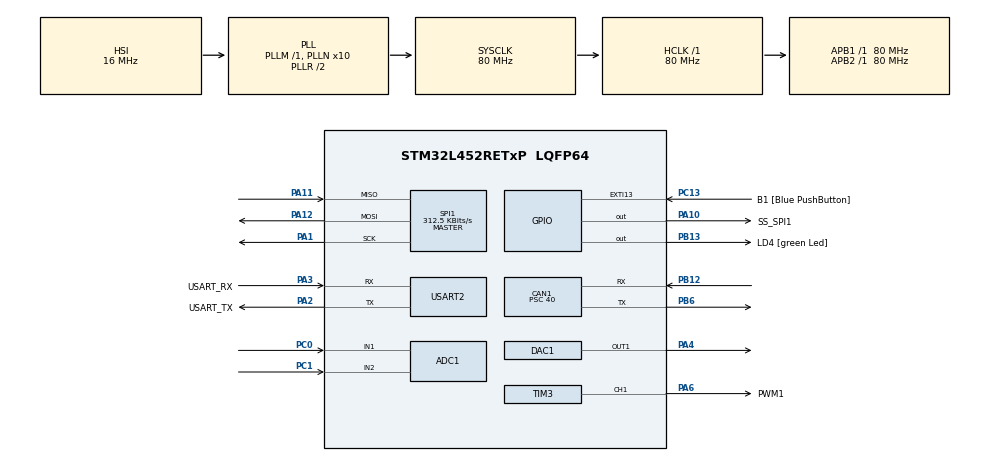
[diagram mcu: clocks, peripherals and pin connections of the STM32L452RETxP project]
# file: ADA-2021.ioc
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ADC1.Channel-0\#ChannelRegularConversion=ADC_CHANNEL_1
ADC1.Channel-1\#ChannelRegularConversion=ADC_CHANNEL_TEMPSENSOR
ADC1.Channel-2\#ChannelRegularConversion=ADC_CHANNEL_VBAT
ADC1.Channel-3\#ChannelRegularConversion=ADC_CHANNEL_VREFINT
ADC1.ContinuousConvMode=DISABLE
ADC1.DMAContinuousRequests=ENABLE
ADC1.EnableAnalogWatchDog2=true
ADC1.ExternalTrigConv=ADC_EXTERNALTRIG_T6_TRGO
ADC1.NbrOfConversion=4
ADC1.NbrOfConversionFlag=1
ADC1.OffsetNumber-0\#ChannelRegularConversion=ADC_OFFSET_NONE
ADC1.OffsetNumber-1\#ChannelRegularConversion=ADC_OFFSET_NONE
ADC1.OffsetNumber-2\#ChannelRegularConversion=ADC_OFFSET_NONE
ADC1.OffsetNumber-3\#ChannelRegularConversion=ADC_OFFSET_NONE
ADC1.Rank-0\#ChannelRegularConversion=1
ADC1.Rank-1\#ChannelRegularConversion=2
ADC1.Rank-2\#ChannelRegularConversion=3
ADC1.Rank-3\#ChannelRegularConversion=4
ADC1.SamplingTime-0\#ChannelRegularConversion=ADC_SAMPLETIME_47CYCLES_5
ADC1.SamplingTime-1\#ChannelRegularConversion=ADC_SAMPLETIME_47CYCLES_5
ADC1.SamplingTime-2\#ChannelRegularConversion=ADC_SAMPLETIME_47CYCLES_5
ADC1.SamplingTime-3\#ChannelRegularConversion=ADC_SAMPLETIME_47CYCLES_5
ADC1.SingleDiff-0\#ChannelRegularConversion=ADC_DIFFERENTIAL_ENDED
ADC1.master=1
CAN1.ABOM=ENABLE
CAN1.BS1=CAN_BS1_13TQ
CAN1.BS2=CAN_BS2_2TQ
CAN1.CalculateBaudRate=125000
CAN1.CalculateTimeBit=8000
CAN1.CalculateTimeQuantum=500.0
CAN1.Mode=CAN_MODE_NORMAL
CAN1.Prescaler=40
Dma.ADC1.0.Direction=DMA_PERIPH_TO_MEMORY
Dma.ADC1.0.Instance=DMA1_Channel1
Dma.ADC1.0.MemDataAlignment=DMA_MDATAALIGN_HALFWORD
Dma.ADC1.0.MemInc=DMA_MINC_ENABLE
Dma.ADC1.0.Mode=DMA_CIRCULAR
Dma.ADC1.0.PeriphDataAlignment=DMA_PDATAALIGN_HALFWORD
Dma.ADC1.0.PeriphInc=DMA_PINC_DISABLE
Dma.ADC1.0.Priority=DMA_PRIORITY_LOW
Dma.Request0=ADC1
Mcu.Family=STM32L4
Mcu.Name=STM32L452RETxP
Mcu.Package=LQFP64
NVIC.CAN1_RX0_IRQn=true\:0\:0\:false\:false\:true\:true\:true
NVIC.CAN1_SCE_IRQn=true\:0\:0\:false\:false\:true\:true\:true
NVIC.DMA1_Channel1_IRQn=true\:0\:0\:false\:false\:true\:false\:true
NVIC.PriorityGroup=NVIC_PRIORITYGROUP_4
PA1.Mode=Full_Duplex_Master
PA1.Signal=SPI1_SCK
PA10.GPIO_Label=SS_SPI1
PA10.GPIO_Speed=GPIO_SPEED_FREQ_MEDIUM
PA10.Signal=GPIO_Output
PA11.Mode=Full_Duplex_Master
PA11.Signal=SPI1_MISO
PA12.Mode=Full_Duplex_Master
PA12.Signal=SPI1_MOSI
PA13\ (JTMS/SWDIO).GPIO_Label=TMS
PA13\ (JTMS/SWDIO).Mode=Trace_Asynchronous_SW
PA13\ (JTMS/SWDIO).Signal=SYS_JTMS-SWDIO
PA14\ (JTCK/SWCLK).GPIO_Label=TCK
PA14\ (JTCK/SWCLK).Mode=Trace_Asynchronous_SW
PA14\ (JTCK/SWCLK).Signal=SYS_JTCK-SWCLK
PA2.GPIO_Label=USART_TX
PA2.GPIO_Mode=GPIO_MODE_AF_PP
PA2.GPIO_PuPd=GPIO_NOPULL
PA2.GPIO_Speed=GPIO_SPEED_FREQ_VERY_HIGH
PA2.Mode=Asynchronous
PA2.Signal=USART2_TX
PA3.GPIO_Label=USART_RX
PA3.GPIO_Mode=GPIO_MODE_AF_PP
PA3.GPIO_PuPd=GPIO_NOPULL
PA3.GPIO_Speed=GPIO_SPEED_FREQ_VERY_HIGH
PA3.Mode=Asynchronous
PA3.Signal=USART2_RX
PA4.Signal=COMP_DAC11_group
PA6.GPIO_Label=PWM1
PA6.GPIO_Speed=GPIO_SPEED_FREQ_HIGH
PA6.Signal=S_TIM3_CH1
PB12.Mode=CAN_Activate
PB12.Signal=CAN1_RX
PB13.GPIO_Label=LD4 [green Led]
PB13.Signal=GPIO_Output
PB3\ (JTDO/TRACESWO).GPIO_Label=SWO
PB3\ (JTDO/TRACESWO).Mode=Trace_Asynchronous_SW
PB3\ (JTDO/TRACESWO).Signal=SYS_JTDO-SWO
PB6.Mode=CAN_Activate
PB6.Signal=CAN1_TX
PC0.Signal=ADCx_IN1
PC1.Signal=ADCx_IN2
PC13.GPIO_Label=B1 [Blue PushButton]
PC13.GPIO_ModeDefaultEXTI=GPIO_MODE_IT_FALLING
PC13.GPIO_PuPd=GPIO_NOPULL
PC13.Signal=GPXTI13
PC14-OSC32_IN\ (PC14).Mode=LSE-External-Oscillator
PC14-OSC32_IN\ (PC14).Signal=RCC_OSC32_IN
PC15-OSC32_OUT\ (PC15).Mode=LSE-External-Oscillator
PC15-OSC32_OUT\ (PC15).Signal=RCC_OSC32_OUT
PH0-OSC_IN\ (PH0).GPIO_Label=MCO
PH0-OSC_IN\ (PH0).Mode=HSE-External-Clock-Source
PH0-OSC_IN\ (PH0).Signal=RCC_OSC_IN
PH1-OSC_OUT\ (PH1).Signal=RCC_OSC_OUT
ProjectManager.HeapSize=0x200
ProjectManager.StackSize=0x400
ProjectManager.TargetToolchain=STM32CubeIDE
RCC.ADCFreq_Value=64000000
RCC.AHBFreq_Value=80000000
RCC.APB1Freq_Value=80000000
RCC.APB1TimFreq_Value=80000000
RCC.APB2Freq_Value=80000000
RCC.APB2TimFreq_Value=80000000
RCC.CortexFreq_Value=80000000
RCC.HCLKFreq_Value=80000000
RCC.HSE_VALUE=8000000
RCC.HSI48_VALUE=48000000
RCC.HSI_VALUE=16000000
RCC.MSI_VALUE=4000000
RCC.PLLN=10
RCC.PLLSourceVirtual=RCC_PLLSOURCE_HSI
RCC.PREFETCH_ENABLE=1
RCC.SYSCLKFreq_VALUE=80000000
RCC.SYSCLKSource=RCC_SYSCLKSOURCE_PLLCLK
RCC.USBFreq_Value=64000000
RCC.VCOOutputFreq_Value=160000000
SH.ADCx_IN1.0=ADC1_IN1,IN1-Differential
SH.ADCx_IN2.0=ADC1_IN2,IN1-Differential
SH.COMP_DAC11_group.0=DAC1_OUT1,DAC_OUT1
SH.S_TIM3_CH1.0=TIM3_CH1,PWM Generation1 CH1
SPI1.BaudRatePrescaler=SPI_BAUDRATEPRESCALER_256
SPI1.CLKPhase=SPI_PHASE_1EDGE
SPI1.CalculateBaudRate=312.5 KBits/s
SPI1.DataSize=SPI_DATASIZE_8BIT
SPI1.Direction=SPI_DIRECTION_2LINES
SPI1.FirstBit=SPI_FIRSTBIT_MSB
SPI1.Mode=SPI_MODE_MASTER
SPI1.VirtualType=VM_MASTER
TIM3.Channel-PWM\ Generation1\ CH1=TIM_CHANNEL_1
TIM3.OCFastMode_PWM-PWM\ Generation1\ CH1=TIM_OCFAST_DISABLE
TIM6.AutoReloadPreload=TIM_AUTORELOAD_PRELOAD_DISABLE
TIM6.Period=99
TIM6.Prescaler=799
TIM6.TIM_MasterOutputTrigger=TIM_TRGO_UPDATE
USART2.VirtualMode-Asynchronous=VM_ASYNC
VP_ADC1_TempSens_Input.Mode=IN-TempSens
VP_ADC1_Vbat_Input.Mode=IN-Vbat
VP_ADC1_Vref_Input.Mode=IN-Vrefint
VP_TIM3_VS_ClockSourceINT.Mode=Internal
VP_TIM6_VS_ClockSourceINT.Mode=Enable_Timer
board=NUCLEO-L452RE-P

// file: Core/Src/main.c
/* USER CODE BEGIN Header */
/**
 * 31мая21
 * Biriuk
 * NUCLEO-L452RE-P
 *
 * ADA-2021
 *
 * STM32CubeIDE Начинаем работать некоторые нюансы использования среды разработки
 * https://www.youtube.com/watch?v=u8zvOeuOdW4&list=RDCMUC2vcuP7iWaX0MVG6hJ-cOkg&start_radio=1#t=0&pbj=1
 *
 * ADC HAL stm32
 * https://istarik.ru/blog/stm32/113.html
 *
 * STM32. АЦП на практике. DMA, прерывания. Переходим с Arduino на STM32
 * https://www.youtube.com/watch?v=4DPMhs-hNMU
 *
 * STM32Cube ADC+PWM Регулировка яркости светодиодов используя Ш�?М,АЦП и stm32f4 discovery
 * https://www.youtube.com/watch?v=RiZO9HGM-OY
 *
 * STM32Cube ADC настройка АЦП для регулярного канала STM32F407 discovery
 * https://www.youtube.com/watch?v=Pvw7AeUAYNQ&list=PL7oty_7pMddnTOH7Gpc7mokh96jt-ynVT&index=54
 *
 *STM32CubeIDE. Принципы работы и настройка интерфейса SWO
 *https://www.youtube.com/watch?v=nE-YrKpWjso&list=PL9lkEHy8EJU8a_bqiJXwGTo-uM_cPa98P
 *
 *Программирование МК STM32. УРОК 18. HAL. ADC. Regular Channel. DMA
 *https://www.youtube.com/watch?v=0fpdNWFnggQ&t=279s
 *https://narodstream.ru/stm-urok-18-hal-adc-regular-channel-dma/
 *
 * Урок 4: STM Studio
 * https://www.rvrobotics.ru/stm32_lesson_4
 *
 * STM32CubeIDE. Установка, настройка и отладка
 * https://www.youtube.com/watch?v=6xhzoDGi4qA
 *
 * Таймеры stm32 HAL - часть первая
 * https://istarik.ru/blog/stm32/118.html
 * D:\YandexDisk\Документы\Biriuk\Soft\STM32\STM32_Материал\STM32L452RE_Документация\STM32L452__Datascheet, стр.39
 *
 * D:\YandexDisk\Документы\Biriuk\Soft\STM32\STM32Cube_Примеры\STM32Cube_FW_L4_V1.15.0\Projects\NUCLEO-L412RB-P\
 * Examples\ADC\ADC_Sequencer\Src\main.c
 *
  ******************************************************************************
  * @file           : main.c
  * @brief          : Main program body
  ******************************************************************************
  * @attention
  *
  * <h2><center>&copy; Copyright (c) 2021 STMicroelectronics.
  * All rights reserved.</center></h2>
  *
  * This software component is licensed by ST under BSD 3-Clause license,
  * the "License"; You may not use this file except in compliance with the
  * License. You may obtain a copy of the License at:
  *                        opensource.org/licenses/BSD-3-Clause
  *
  ******************************************************************************
  */
/* USER CODE END Header */
#include "main.h"

/* USER CODE BEGIN Includes */
#include "string.h" // это для функции strlen()
#include <stdio.h>
/* USER CODE END Includes */

/* USER CODE BEGIN PD */
//�?змерение напряжения питания микроконтроллера STM32
//https://microtechnics.ru/izmerenie-napryazheniya-pitaniya-mikrokontrollera-stm32/
#define ADC_REFERENCE_VOLTAGE	1.212	//internal reference voltage - datascheet, s.101
#define ADC_MAX		0xFFF		//Максимальное напряжение питания АЦП в кодах = 4095

// D:\YandexDisk\Документы\Biriuk\Soft\STM32\STM32Cube_Примеры\STM32Cube_FW_L4_V1.15.0\Projects\NUCLEO-L412RB-P\Examples\ADC\ADC_Sequencer\Src\main.c

/* Definitions of environment analog values */
/* Value of analog reference voltage (Vref+), connected to analog voltage   */
/* supply Vdda (unit: mV).                                                  */
#define VDDA_APPLI                       (3300U)

/* Definitions for DAC parameters */
#define RANGE_12BITS                     (__LL_ADC_DIGITAL_SCALE(LL_ADC_RESOLUTION_12B))    /* Max digital value with a full range of 12 bits */

/* Definitions of data related to this example */
/* Definition of ADCx conversions data table size */
/* Size of array set to ADC sequencer number of ranks converted,            */
/* to have a rank in each array address.                                    */
#define ADC_CONVERTED_DATA_BUFFER_SIZE   (   4U)

#define MSB_      4096	//для RANGE_12BITS 2^12
/* USER CODE END PD */

ADC_HandleTypeDef hadc1;
DMA_HandleTypeDef hdma_adc1;

CAN_HandleTypeDef hcan1;

DAC_HandleTypeDef hdac1;

SPI_HandleTypeDef hspi1;

TIM_HandleTypeDef htim3;
TIM_HandleTypeDef htim6;

UART_HandleTypeDef huart2;

/* USER CODE BEGIN PV */
//uint8_t i = 0;
uint32_t  timme = 0;
//float u[4] = {0,};

//float u[ADC_CONVERTED_DATA_BUFFER_SIZE] = {0,};

char trans_str[64] = {0,};
//volatile uint16_t adc[4] = {0,};

volatile uint16_t adc[ADC_CONVERTED_DATA_BUFFER_SIZE] = {0,};

//uint16_t REC_SPI = 0;	//Сигнал, полученный по SPI
//char REC_SPI[3] = {0,};	//Сигнал, полученный по SPI
uint16_t REC_SPI[1] = {0};

volatile uint8_t flag = 0;
int LED_State = 0;
volatile unsigned long T;
//int _L = 0;

//int SYGNaL_single_mV = 0;	//Напряжение входа АЦП (Uвх)  в мВ
//int SYGNaL_single_mV_hal = 0;	//Напряжение входа АЦП (Uвх)  в мВ  в библиотеке HAL
float SYGNaL_dif_mV = 0;		//Напряжение дифференциального входа АЦП (Uвх.диф)  в мВ
//float SYGNaL_dif_mV_ = 0;
int Temp_Sens = 0;			//Значение температуры кристалла (Temperature Sensor Channel) в град.С х 10
//float Temp_DEG_C = 0;		//Приведенное значение температуры кристалла в град.С
int VDD_mV = 0;				//Значение напряжения питания кристалла (VDD) в мВ
float VDD_V = 0;			//Приведенное значение напряжения кристалла (VDD) в В
//int Vbat_mV = 0;			//Значение напряжения батареи (Vbat Channel) в мВ
float Vbat_V = 0;			//Приведенное значение напряжения батареи (Vbat Channel) в В
//float V_RFINT = 1.212;	//internal reference voltage - datascheet, s.101
//int mcuVoltage_mV = 0;		//Значение напряжения питания в мВ
float mcuVoltage_V = 0;		//Приведенное значение напряжения питания в В
//uint16_t Vrefint_mV = 0;	//�?змеряемое напряжение Vrefint (Vrefint Channel) в мВ
float Vref_V = 0;		//�?змеряемое напряжение Vrefint (Vrefint Channel) в В

volatile uint8_t REPER = 0;
volatile int REPER2 = 0;
//uint8_t SPI_TMP = 0b010101;
uint8_t SPI_TMP = 0x0b;	//= 11dec
//int SPI_TMP = 10;

//volatile uint16_t ADC_Data[4];

// D:\YandexDisk\Документы\Biriuk\Soft\STM32\STM32Cube_Примеры\STM32Cube_FW_L4_V1.15.0\Projects\NUCLEO-L412RB-P\Examples\ADC\ADC_Sequencer\Src\main.c

/* Peripherals handlers declaration */
/* ADC handler declaration */
//ADC_HandleTypeDef    AdcHandle;

/* Variable containing ADC conversions results */
//N.B. __IO <=> volatile!
//__IO uint16_t aADCxConvertedData[ADC_CONVERTED_DATA_BUFFER_SIZE];	//<=> adc

/* Variables for ADC conversion data computation to physical values */
//__IO uint16_t uhADCxConvertedData_VoltageGPIO_mVolt = 0U;        /* <=> SYGNaL     Value of voltage on GPIO pin (on which is mapped ADC channel) calculated from ADC conversion data (unit: mV) */
//__IO uint16_t uhADCxConvertedData_VrefInt_mVolt = 0U;            /* <=> Vrefint    Value of internal voltage reference VrefInt calculated from ADC conversion data (unit: mV) */
//__IO  int16_t hADCxConvertedData_Temperature_DegreeCelsius = 0U; /* <=> Temp_Sens  Value of temperature calculated from ADC conversion data (unit: degree Celcius) */
//__IO uint16_t uhADCxConvertedData_VrefAnalog_mVolt = 0U;         /* <=> Vbat       Value of analog reference voltage (Vref+), connected to analog voltage supply Vdda, calculated from ADC conversion data (unit: mV) */

/* Variables to manage push button on board: interface between ExtLine interruption and main program */
//uint8_t       ubUserButtonClickCount = 0;      /* Count number of clicks: Incremented after User Button interrupt */
//__IO uint8_t  ubUserButtonClickEvent = RESET;  /* Event detection: Set after User Button interrupt */

/* Variable to report ADC sequencer status */
//uint8_t       ubSequenceCompleted = RESET;     /* Set when all ranks of the sequence have been converted */

//https://istarik.ru/blog/stm32/159.html
CAN_TxHeaderTypeDef TxHeader;
CAN_RxHeaderTypeDef RxHeader;
uint8_t TxData[8] = {0,};
uint8_t RxData[8] = {0,};
uint32_t TxMailbox = 0;

/* USER CODE END PV */

void SystemClock_Config(void);
static void MX_GPIO_Init(void);
static void MX_DMA_Init(void);
static void MX_USART2_UART_Init(void);
static void MX_ADC1_Init(void);
static void MX_DAC1_Init(void);
static void MX_TIM6_Init(void);
static void MX_TIM3_Init(void);
static void MX_SPI1_Init(void);
static void MX_CAN1_Init(void);

/* USER CODE BEGIN 0 */
void HAL_ADC_ConvCpltCallback(ADC_HandleTypeDef *hadc)
{
	//REPER++;
	if (hadc->Instance == ADC1) //check if the interrupt comes from ACD1
	{
		flag = 1;
		//REPER2 = REPER2 + 2;

		//HAL_GPIO_TogglePin(LD4_GPIO_Port, LD4_Pin);
		//LED_State = HAL_GPIO_ReadPin(LD4_GPIO_Port, LD4_Pin);

		//for (uint8_t j = 0; j < 4; j++)
		//{
			//HAL_ADC_Stop_DMA(&hadc1); // <a> необязательно
			//snprintf(trans_str, 63, "ADC %d\n", adc[j]);
			//snprintf(trans_str, 63, "ADC %d \n", adc);
			//HAL_UART_Transmit(&huart2, (uint8_t*) trans_str, strlen(trans_str), 1000);
			//adc[j] = 0;
			//HAL_ADC_Start_DMA(&hadc1, (uint32_t*) adc, j);
			//HAL_ADC_Start_DMA(&hadc1, (uint32_t*) adc, 1);

			//printf("АЦП = %d\n", adc[j]);
			//puts("АЦП работает правильно!");

			//printf("ADC = %d\n", adc[j]);
			//puts("ADC arbeit richtig");

			//REPER2 ++;
			//REPER2 = 10;

		//}
		//flag = 0;

		//REPER2 = REPER2 * 2;
	}
}

//https://istarik.ru/blog/stm32/159.html
void HAL_CAN_RxFifo0MsgPendingCallback(CAN_HandleTypeDef *hcan)
{
	if (HAL_CAN_GetRxMessage(hcan, CAN_RX_FIFO0, &RxHeader, RxData) == HAL_OK)
	{
		//HAL_GPIO_TogglePin(GPIOC, GPIO_PIN_13);
		//HAL_GPIO_TogglePin(LD4_GPIO_Port, LD4_Pin);
		//LED_State = HAL_GPIO_ReadPin(LD4_GPIO_Port, LD4_Pin);
		if (RxHeader.StdId == 0x0378)
		{
			snprintf(trans_str, 128, "ID %04lX %d\n", RxHeader.StdId,
					RxData[0]);
			HAL_UART_Transmit(&huart2, (uint8_t*) trans_str, strlen(trans_str),
					100);
		} else if (RxHeader.StdId == 0x0126)
		{
			snprintf(trans_str, 128, "ID %04lX %d\n", RxHeader.StdId,
					RxData[0]);
			HAL_UART_Transmit(&huart2, (uint8_t*) trans_str, strlen(trans_str),
					100);
		}

		else if (RxHeader.StdId == 0x0111)
		{
			snprintf(trans_str, 128, "ID %04lX %d\n", RxHeader.StdId,
					RxData[0]);
			HAL_UART_Transmit(&huart2, (uint8_t*) trans_str, strlen(trans_str),
					100);
		}

		else if (RxHeader.StdId == 0x0112)
		{
			snprintf(trans_str, 128, "ID %04lX %d\n", RxHeader.StdId,
					RxData[1]);
			HAL_UART_Transmit(&huart2, (uint8_t*) trans_str, strlen(trans_str),
					100);
		}

		else if (RxHeader.StdId == 0x0113)
		{
			snprintf(trans_str, 128, "ID %04lX %d\n", RxHeader.StdId,
					RxData[2]);
			HAL_UART_Transmit(&huart2, (uint8_t*) trans_str, strlen(trans_str),
					100);
		}

		else if (RxHeader.StdId == 0x0114)
		{
			snprintf(trans_str, 128, "ID %04lX %d\n", RxHeader.StdId,
					RxData[3]);
			HAL_UART_Transmit(&huart2, (uint8_t*) trans_str, strlen(trans_str),
					100);
		}

		else if (RxHeader.StdId == 0x0115)
		{
			snprintf(trans_str, 128, "ID %04lX %d\n", RxHeader.StdId,
					RxData[4]);
			HAL_UART_Transmit(&huart2, (uint8_t*) trans_str, strlen(trans_str),
					100);
		}

		else if (RxHeader.StdId == 0x0125)	//отфильтрован для проверки!
		{
			snprintf(trans_str, 128, "ID %04lX %d\n", RxHeader.StdId,
					RxData[5]);
			HAL_UART_Transmit(&huart2, (uint8_t*) trans_str, strlen(trans_str),
					100);
		}
	}
}
//Колбек для ошибок:
void HAL_CAN_ErrorCallback(CAN_HandleTypeDef *hcan)
{
    uint32_t er = HAL_CAN_GetError(hcan);
    sprintf(trans_str,"ER CAN %lu %08lX", er, er);
    HAL_UART_Transmit(&huart2, (uint8_t*)trans_str, strlen(trans_str), 100);
}

/* USER CODE END 0 */

int main(void)
{

  /* MCU Configuration--------------------------------------------------------*/

  /* Reset of all peripherals, Initializes the Flash interface and the Systick. */
  HAL_Init();

  /* Configure the system clock */
  SystemClock_Config();

  /* Initialize all configured peripherals */
  MX_GPIO_Init();
  MX_DMA_Init();
  MX_USART2_UART_Init();
  MX_ADC1_Init();
  MX_DAC1_Init();
  MX_TIM6_Init();
  MX_TIM3_Init();
  MX_SPI1_Init();
  MX_CAN1_Init();
  /* USER CODE BEGIN 2 */
	//HAL_ADC_Init(&hadc1);		//????
	//Калибровка АЦП
	//HAL_ADCEx_Calibration_Start(&hadc1, SingleDiff);
	HAL_ADCEx_Calibration_Start(&hadc1, ADC_SINGLE_ENDED);
	HAL_ADCEx_Calibration_Start(&hadc1, ADC_DIFFERENTIAL_ENDED);
	//HAL_ADCEx_Calibration_Start(&hadc1, ADC_SINGLE_ENDED);
	//HAL_ADCEx_Calibration_Start(&hadc1, uint32_t SingleDiff);
	//https://blog.radiotech.kz/perevod/adc-perevod-iz-knigi-mastering-stm32/

	//HAL_ADCEx_Calibration_Start(&hadc1);

	//HAL_ADC_Start(&hadc1);
	//HAL_ADC_Start_DMA(&hadc1, &timme, flag);
	HAL_ADC_Start_DMA(&hadc1, (uint32_t*) &adc, 4);
	//HAL_TIM_OC_Start(&htim2, TIM_CHANNEL_2);	//старт 2-го канала таймера №2
	HAL_TIM_Base_Start(&htim6);

	HAL_DAC_Start(&hdac1,DAC_CHANNEL_1);

	HAL_TIM_PWM_Start(&htim3, TIM_CHANNEL_1);

	HAL_GPIO_WritePin(SS_SPI1_GPIO_Port, SS_SPI1_Pin, GPIO_PIN_SET);
	HAL_Delay(100);

	//https://istarik.ru/blog/stm32/159.html
	//Перед бесконечным циклом заполняем структуру отвечающую за отправку кадров…
	TxHeader.StdId = 0x0378;
	TxHeader.ExtId = 0;
	TxHeader.RTR = CAN_RTR_DATA; //CAN_RTR_REMOTE
	TxHeader.IDE = CAN_ID_STD;   // CAN_ID_EXT
	TxHeader.DLC = 8;
	TxHeader.TransmitGlobalTime = 0;

	//Заполняем массив для отправки полезных данных каким-нибудь хламом
	for(uint8_t i = 0; i < 8; i++)
	{
	    TxData[i] = (i + 10);
	}

	//Запускаем CAN
	HAL_CAN_Start(&hcan1);
	//�? активируем события которые будут вызывать прерывания
	HAL_CAN_ActivateNotification(&hcan1, CAN_IT_RX_FIFO0_MSG_PENDING | CAN_IT_ERROR | CAN_IT_BUSOFF | CAN_IT_LAST_ERROR_CODE);

  /* USER CODE END 2 */

  /* Infinite loop */
  /* USER CODE BEGIN WHILE */
	while (1)
	{
		if (HAL_GetTick() - T >= 500)
		{
			T = HAL_GetTick();
			HAL_GPIO_TogglePin(LD4_GPIO_Port, LD4_Pin);
			//HAL_GPIO_WritePin(LD4_GPIO_Port, LD4_Pin, GPIO_PIN_RESET);
			LED_State = HAL_GPIO_ReadPin(LD4_GPIO_Port, LD4_Pin);
			//flag = 1;

		}

		//REPER = (REPER +2) * 1;
		//REPER = 5;
		//flag = 1;	//УБРАТЬ!!!

		if (flag)
		{
			//HAL_Delay(250);	//УБРАТЬ!!!

			flag = 0;		//Восстановить!
			//HAL_GPIO_TogglePin(LD4_GPIO_Port, LD4_Pin);
			//LED_State = HAL_GPIO_ReadPin(LD4_GPIO_Port, LD4_Pin);
			//_L = !_L;

			//puts("LED_State меняет своё значение");

			//for (uint8_t j = 0; j < 4; j++)
			//{
			//HAL_ADC_Stop_DMA(&hadc1); // <a> необязательно
			//snprintf(trans_str, 63, "ADC %d\n", adc[j]);
			//snprintf(trans_str, 63, "ADC %d \n", adc);
			//HAL_UART_Transmit(&huart2, (uint8_t*) trans_str,
			//strlen(trans_str), 1000);
			//HAL_ADC_Start_DMA(&hadc1, (uint32_t*) adc, j);
			//HAL_ADC_Start_DMA(&hadc1, (uint32_t*) adc, 1);

			//printf("АЦП = %d.\n", adc[j]);
			//puts("АЦП работает правильно!");

			//printf("ADC = %d\n", adc[j]);
			//puts("ADC arbeit richtig");

			//adc[j] = 0;
			//REPER++;
			//HAL_Delay(100);	// >=100 мс. Спасает от сваливания в void HardFault_Handler(void)!!!
			//flag = 1;	//УБРАТЬ!!!
			//}
			//SYGNaL = adc[0];
			//Temp_Sens = adc[1];
			//Vbat = adc[2];
			//mcuVoltage = ADC_MAX * ADC_REFERENCE_VOLTAGE / adc[3];

			//HAL_Delay(5000);	//�?ли здесь. Величина влияет на "просечки", см. график на STM32CubeMonitor. Спасает от сваливания в void HardFault_Handler(void)!!!

			Temp_Sens = __LL_ADC_CALC_TEMPERATURE(VDDA_APPLI, adc[1],
					LL_ADC_RESOLUTION_12B);
			//Temp_DEG_C = (float) Temp_Sens / 10;

			/*Раскрытый макрос измерения температуры;*/
			/* (((( ((int32_t)((((((adc[1])) << ((((0x00000000UL))) >> (( 3UL) - 1UL))) >> (((0x00000000UL)) >> (( 3UL) - 1UL))) * ((3300U))) / (3000UL)) - (int32_t) *((uint16_t*) (0x1FFF75A8UL)))  \
 ) * (int32_t)((130L) - (( int32_t)   30L)) ) / (int32_t)((int32_t)*((uint16_t*) (0x1FFF75CAUL)) - (int32_t)*((uint16_t*) (0x1FFF75A8UL)))) + (( int32_t)   30L)); */

			//puts("TS_CAL1");
			//printf("TS_CAL1 = %hu\n", (int32_t)*((uint16_t*) (0x1FFF75A8UL)));
			//puts("TS_CAL2");
			//printf("TS_CAL2 = %hu\n", (int32_t)*((uint16_t*) (0x1FFF75CAUL)));
			//ПРОВЕР�?Л на калькулятореГ
			//(130-30)/(1386-1045)*(940*3300/3000-1045)+30 = 26,77 град.С ВЕРНО!

			//Vrefint_mV   = __LL_ADC_CALC_DATA_TO_VOLTAGE(VDDA_APPLI, adc[3], LL_ADC_RESOLUTION_12B);
			//Vref_V = (float) Vrefint_mV / 1000;
			Vref_V = (float) __LL_ADC_CALC_DATA_TO_VOLTAGE(VDDA_APPLI, adc[3],
					LL_ADC_RESOLUTION_12B) / 1000;

			//Vbat_mV   = __LL_ADC_CALC_DATA_TO_VOLTAGE(VDDA_APPLI, adc[2], LL_ADC_RESOLUTION_12B) * 3;
			//Vbat_V = (float) Vbat_mV / 1000;
			Vbat_V = (float) __LL_ADC_CALC_DATA_TO_VOLTAGE(VDDA_APPLI, adc[2],
					LL_ADC_RESOLUTION_12B) * 3 / 1000;

			VDD_mV = __LL_ADC_CALC_VREFANALOG_VOLTAGE(adc[3],
					LL_ADC_RESOLUTION_12B);
			VDD_V = (float) VDD_mV / 1000;
			//VDD_V = (float) __LL_ADC_CALC_VREFANALOG_VOLTAGE(adc[3], LL_ADC_RESOLUTION_12B) / 1000;

			//SYGNaL_single_mV    = (__LL_ADC_CALC_DATA_TO_VOLTAGE(VDDA_APPLI, adc[0], LL_ADC_RESOLUTION_12B) - VDDA_APPLI/2) * 2;
			//SYGNaL_single_mV    = __LL_ADC_CALC_VREFANALOG_VOLTAGE(adc[0], LL_ADC_RESOLUTION_12B);
			//SYGNaL_dif_mV = SYGNaL_single_mV - Vrefint_mV;

			//SYGNaL_single_mV_hal = __HAL_ADC_CALC_DATA_TO_VOLTAGE(VDDA_APPLI, adc[0], ADC_RESOLUTION_12B);
			//SYGNaL_single_mV_hal = __HAL_ADC_CALC_DATA_TO_VOLTAGE(VDDA_APPLI, (float) (adc[0] - MSB_/2), ADC_RESOLUTION_12B) * 2;

			SYGNaL_dif_mV = (float) (adc[0] - MSB_ / 2) / (MSB_ / 2) * VDD_mV;
			//SYGNaL_dif_mV_ = (float) (adc[0] - 2048) / 2048 * VDD_mV;

			//puts("U_In");
			//printf("SYGNaL_single_mV = %d\n", SYGNaL_single_mV);

			//puts("U_In_hal");
			//printf("SYGNaL_single_mV_hal = %d\n", SYGNaL_single_mV_hal);

			//puts("U_Diff_In");
			//printf("SYGNaL_dif_mV = %2.1f\n", SYGNaL_dif_mV);

			//puts("Vrefint, mV");
			//printf("Vrefint_mV = %d\n", Vrefint_mV);

			//puts("Vref_V, V");
			//printf("Vref_V = %2.1f\n", Vref_V);

			//puts("Temp_Sens, Deg.C");
			//printf("Temp_Sens = %d\n", Temp_Sens);

			//puts("Temp_Sens, Deg.C");
			//printf("Temp_Sens = %2.1f\n", Temp_DEG_C);

			//puts("Vbat_mV, mV");
			//printf("Vbat_mV/3 = %d\n", Vbat_mV);

			//puts("Vbat_V, V");
			//printf("Vbat_V = %2.1f\n", Vbat_V);

			//puts("VDD_mV, mV");
			//printf("VDD_mV = %d\n", VDD_mV);

			//puts("VDD_V, V");
			//printf("VDD_V = %2.1f\n", VDD_V);

			//HAL_Delay(100);

			//HAL_DAC_SetValue(&hdac1, DAC_CHANNEL_1, DAC_ALIGN_12B_R, adc[0]);
			//HAL_DAC_SetValue(&hdac1, DAC_CHANNEL_1, DAC_ALIGN_12B_R, (adc[0] - MSB_ / 2));

			//HAL_DAC_SetValue(&hdac1, DAC_CHANNEL_1, DAC_ALIGN_12B_R, 0x00000000);

			//HAL_Delay(2);

			//HAL_DAC_SetValue(&hdac1, DAC_CHANNEL_1, DAC_ALIGN_12B_R, 0x00000280);

			//HAL_Delay(2);

			//HAL_DAC_SetValue(&hdac1, DAC_CHANNEL_1, DAC_ALIGN_12B_R, 0x00000500);

			//HAL_Delay(2);

			//HAL_DAC_SetValue(&hdac1, DAC_CHANNEL_1, DAC_ALIGN_12B_R, 0x00000780);

			//HAL_Delay(2);

			//HAL_DAC_SetValue(&hdac1, DAC_CHANNEL_1, DAC_ALIGN_12B_R, 0x00000999);

			//HAL_Delay(2);

			//HAL_DAC_SetValue(&hdac1, DAC_CHANNEL_1, DAC_ALIGN_12B_R, 0x00000780);

			//HAL_Delay(2);

			//HAL_DAC_SetValue(&hdac1, DAC_CHANNEL_1, DAC_ALIGN_12B_R, 0x00000500);

			//HAL_Delay(2);

			//HAL_DAC_SetValue(&hdac1, DAC_CHANNEL_1, DAC_ALIGN_12B_R, 0x00000280);

			//HAL_Delay(2);

		}

		HAL_DAC_SetValue(&hdac1, DAC_CHANNEL_1, DAC_ALIGN_12B_R, adc[0]);

		TIM3->CCR1=adc[0]*16;
		//[STM32Cube ADC+PWM Регулировка яркости светодиодов используя Ш�?М,АЦП и stm32f4 discovery]
		//https://www.youtube.com/watch?v=RiZO9HGM-OY&t=3s
//==================================================================================================
		//HAL_SPI_Transmit (&hspi1, (uint8_t *) &adc[0], 1, 5000);

		HAL_GPIO_WritePin(SS_SPI1_GPIO_Port, SS_SPI1_Pin, GPIO_PIN_RESET);

		//HAL_SPI_TransmitReceive(&hspi1, (uint8_t *) &adc[0], (uint8_t *) &REC_SPI, 1, 5000);
		HAL_SPI_TransmitReceive(&hspi1, (uint8_t*) &SPI_TMP, (uint8_t*) &REC_SPI, sizeof(SPI_TMP), HAL_MAX_DELAY);

		//Вообще форма TransmitReceive() может приводить к проблеме в случае больших задержек ответа
		//от SLAVE, в таком случае удобнее применять раздельные команды Transmit и Receive
		//(см. Записки программиста, Микроконтроллеры STM32: работа с SPI на примере флеш-памяти AT45DB161E
		//https://eax.me/stm32-spi-flash/):
		//STM32F407 Урок 06. Работаем с внешней памятью FLASH и PSRAM по шине SPI:
		//https://imax9.narod.ru/publs/F407les06.html
		//STM32 SPI Receive DMA получает данные об мусоре:
		//https://fooobar.com/questions/15371833/stm32-spi-receive-dma-is-getting-garbage-data
		//STM32 SPI, не могу заставить его работать:
		//https://askentire.net/q/stm-32-spi-ne-mogu-zastavit-ego-rabotat-62164695329
		//STM32 HAL библиотека SPI отладка связи LD3320:
		//https://russianblogs.com/article/6569720047/

		/*
		HAL_SPI_Transmit(&hspi1, (uint8_t*) &SPI_TMP, 1, HAL_MAX_DELAY);
		while (HAL_SPI_GetState(&hspi1) != HAL_SPI_STATE_READY);

		HAL_SPI_Receive(&hspi1, (uint8_t*) &REC_SPI, 1, HAL_MAX_DELAY);
		//while(HAL_SPI_GetState(&hspi1) != HAL_SPI_STATE_READY);	//возможно, не надо!
		*/

		//НО! При этом получается повтор передачи данных на шине SPI из-за двойного обращения:
		//Transmit и Receive, что хорошо видно на анализаторе. Это приводит к уменьшению скорости обмена.

		HAL_GPIO_WritePin(SS_SPI1_GPIO_Port, SS_SPI1_Pin, GPIO_PIN_SET);
		//HAL_Delay(100);

		puts("REC_SPI");
		printf("REC_SPI = %d\n", REC_SPI[0]);

		puts("SPI_TMP");
		printf("SPI_TMP = %d\n", SPI_TMP);

		//printf("REC_SPI = %3s\n", REC_SPI);
		//puts("adc[0]");
		//printf("adc[0] = %d\n", adc[0]);
//=======================================================================================
		//CAN Bit Time Calculation
		//http://www.bittiming.can-wiki.info/
		//CAN-шина и stm32
		//https://istarik.ru/blog/stm32/159.html
		//STM32 и протокол CAN. Настройка в STM32CubeMx
		//https://microtechnics.ru/stm32-i-protokol-can-nastrojka-v-stm32cubemx/
		//�?спользование модулей CAN на STM32 для разных целей
		//http://we.easyelectronics.ru/STM32/ispolzovanie-moduley-can-na-stm32-dlya-raznyh-celey.html
		//Сообщества › Электронные Поделки › Блог › Урок 1 (3). Запускаем CAN-шину на STM32
		//https://www.drive2.ru/c/472295770540736550/
		//https://www.drive2.ru/c/536629295393539615
		//STM32 CAN шина. Часть 1 (2). Настройка и странности HAL
		//https://www.youtube.com/watch?v=bio8Qqel4zY&list=PLgRD4-fznAww5W1I_k7bmUTvK3BmH_KlH
		//https://www.youtube.com/watch?v=xcIOLiilQ8U
		//STM32 настройка CAN
		//https://www.youtube.com/watch?v=JeDwEv51wFo

		//Отправка сообщений в CAN-шину
		//https://istarik.ru/blog/stm32/159.html

		if(LED_State == 0)
		{
		TxHeader.StdId = 0x0378;
		TxData[0] = 90;
		}
		else
		{
			TxHeader.StdId = 0x0126;
			TxData[0] = 100;

		}

		//while(HAL_CAN_GetTxMailboxesFreeLevel(&hcan1) == 0);
		if(HAL_CAN_GetTxMailboxesFreeLevel(&hcan1) != 0)
		{

		        if(HAL_CAN_AddTxMessage(&hcan1, &TxHeader, TxData, &TxMailbox) != HAL_OK)
		        {
		                HAL_UART_Transmit(&huart2, (uint8_t*)"ER SEND\n", 8, 100);
		        }
		}

		        //HAL_Delay(500);

    /* USER CODE END WHILE */

	}
}

void SystemClock_Config(void)
{
  RCC_OscInitTypeDef RCC_OscInitStruct = {0};
  RCC_ClkInitTypeDef RCC_ClkInitStruct = {0};

  /** Configure the main internal regulator output voltage
  */
  if (HAL_PWREx_ControlVoltageScaling(PWR_REGULATOR_VOLTAGE_SCALE1) != HAL_OK)
  {
    Error_Handler();
  }
  /** Initializes the RCC Oscillators according to the specified parameters
  * in the RCC_OscInitTypeDef structure.
  */
  RCC_OscInitStruct.OscillatorType = RCC_OSCILLATORTYPE_HSI;
  RCC_OscInitStruct.HSIState = RCC_HSI_ON;
  RCC_OscInitStruct.HSICalibrationValue = RCC_HSICALIBRATION_DEFAULT;
  RCC_OscInitStruct.PLL.PLLState = RCC_PLL_ON;
  RCC_OscInitStruct.PLL.PLLSource = RCC_PLLSOURCE_HSI;
  RCC_OscInitStruct.PLL.PLLM = 1;
  RCC_OscInitStruct.PLL.PLLN = 10;
  RCC_OscInitStruct.PLL.PLLP = RCC_PLLP_DIV7;
  RCC_OscInitStruct.PLL.PLLQ = RCC_PLLQ_DIV2;
  RCC_OscInitStruct.PLL.PLLR = RCC_PLLR_DIV2;
  if (HAL_RCC_OscConfig(&RCC_OscInitStruct) != HAL_OK)
  {
    Error_Handler();
  }
  /** Initializes the CPU, AHB and APB buses clocks
  */
  RCC_ClkInitStruct.ClockType = RCC_CLOCKTYPE_HCLK|RCC_CLOCKTYPE_SYSCLK
                              |RCC_CLOCKTYPE_PCLK1|RCC_CLOCKTYPE_PCLK2;
  RCC_ClkInitStruct.SYSCLKSource = RCC_SYSCLKSOURCE_PLLCLK;
  RCC_ClkInitStruct.AHBCLKDivider = RCC_SYSCLK_DIV1;
  RCC_ClkInitStruct.APB1CLKDivider = RCC_HCLK_DIV1;
  RCC_ClkInitStruct.APB2CLKDivider = RCC_HCLK_DIV1;

  if (HAL_RCC_ClockConfig(&RCC_ClkInitStruct, FLASH_LATENCY_4) != HAL_OK)
  {
    Error_Handler();
  }
}

static void MX_ADC1_Init(void)
{

  ADC_ChannelConfTypeDef sConfig = {0};

  /** Common config
  */
  hadc1.Instance = ADC1;
  hadc1.Init.ClockPrescaler = ADC_CLOCK_ASYNC_DIV1;
  hadc1.Init.Resolution = ADC_RESOLUTION_12B;
  hadc1.Init.DataAlign = ADC_DATAALIGN_RIGHT;
  hadc1.Init.ScanConvMode = ADC_SCAN_ENABLE;
  hadc1.Init.EOCSelection = ADC_EOC_SINGLE_CONV;
  hadc1.Init.LowPowerAutoWait = DISABLE;
  hadc1.Init.ContinuousConvMode = DISABLE;
  hadc1.Init.NbrOfConversion = 4;
  hadc1.Init.DiscontinuousConvMode = DISABLE;
  hadc1.Init.ExternalTrigConv = ADC_EXTERNALTRIG_T6_TRGO;
  hadc1.Init.ExternalTrigConvEdge = ADC_EXTERNALTRIGCONVEDGE_RISING;
  hadc1.Init.DMAContinuousRequests = ENABLE;
  hadc1.Init.Overrun = ADC_OVR_DATA_PRESERVED;
  hadc1.Init.OversamplingMode = DISABLE;
  if (HAL_ADC_Init(&hadc1) != HAL_OK)
  {
    Error_Handler();
  }
  /** Configure Regular Channel
  */
  sConfig.Channel = ADC_CHANNEL_1;
  sConfig.Rank = ADC_REGULAR_RANK_1;
  sConfig.SamplingTime = ADC_SAMPLETIME_47CYCLES_5;
  sConfig.SingleDiff = ADC_DIFFERENTIAL_ENDED;
  sConfig.OffsetNumber = ADC_OFFSET_NONE;
  sConfig.Offset = 0;
  if (HAL_ADC_ConfigChannel(&hadc1, &sConfig) != HAL_OK)
  {
    Error_Handler();
  }
  /** Configure Regular Channel
  */
  sConfig.Channel = ADC_CHANNEL_TEMPSENSOR;
  sConfig.Rank = ADC_REGULAR_RANK_2;
  sConfig.SingleDiff = ADC_SINGLE_ENDED;
  if (HAL_ADC_ConfigChannel(&hadc1, &sConfig) != HAL_OK)
  {
    Error_Handler();
  }
  /** Configure Regular Channel
  */
  sConfig.Channel = ADC_CHANNEL_VBAT;
  sConfig.Rank = ADC_REGULAR_RANK_3;
  if (HAL_ADC_ConfigChannel(&hadc1, &sConfig) != HAL_OK)
  {
    Error_Handler();
  }
  /** Configure Regular Channel
  */
  sConfig.Channel = ADC_CHANNEL_VREFINT;
  sConfig.Rank = ADC_REGULAR_RANK_4;
  if (HAL_ADC_ConfigChannel(&hadc1, &sConfig) != HAL_OK)
  {
    Error_Handler();
  }

}

static void MX_CAN1_Init(void)
{

  /* USER CODE BEGIN CAN1_Init 0 */
	//Структура для конфигурации фильтров
	//(Хотя бы один фильтр должен быть настроен иначе работать не будет)
	//https://istarik.ru/blog/stm32/159.html
	CAN_FilterTypeDef  sFilterConfig;
  /* USER CODE END CAN1_Init 0 */

  hcan1.Instance = CAN1;
  hcan1.Init.Prescaler = 40;
  hcan1.Init.Mode = CAN_MODE_NORMAL;
  hcan1.Init.SyncJumpWidth = CAN_SJW_1TQ;
  hcan1.Init.TimeSeg1 = CAN_BS1_13TQ;
  hcan1.Init.TimeSeg2 = CAN_BS2_2TQ;
  hcan1.Init.TimeTriggeredMode = DISABLE;
  hcan1.Init.AutoBusOff = ENABLE;
  hcan1.Init.AutoWakeUp = DISABLE;
  hcan1.Init.AutoRetransmission = DISABLE;
  hcan1.Init.ReceiveFifoLocked = DISABLE;
  hcan1.Init.TransmitFifoPriority = DISABLE;
  if (HAL_CAN_Init(&hcan1) != HAL_OK)
  {
    Error_Handler();
  }
  /* USER CODE BEGIN CAN1_Init 2 */
  //Настройка фильтра
  //https://istarik.ru/blog/stm32/159.html
  //https://microtechnics.ru/stm32-i-protokol-can-nastrojka-v-stm32cubemx/

  sFilterConfig.FilterBank = 0;
  sFilterConfig.FilterMode = CAN_FILTERMODE_IDMASK;
  sFilterConfig.FilterScale = CAN_FILTERSCALE_32BIT;
  sFilterConfig.FilterIdHigh = 0x0378 << 5;
  sFilterConfig.FilterIdLow = 0x0000;
  sFilterConfig.FilterMaskIdHigh = 0x7FF << 5;
  sFilterConfig.FilterMaskIdLow = 0x0000;
  sFilterConfig.FilterFIFOAssignment = CAN_RX_FIFO0;
  sFilterConfig.FilterActivation = ENABLE;

  sFilterConfig.FilterBank = 1;
  sFilterConfig.FilterMode = CAN_FILTERMODE_IDMASK;
  sFilterConfig.FilterScale = CAN_FILTERSCALE_32BIT;
  sFilterConfig.FilterIdHigh = 0x0126 << 5;
  sFilterConfig.FilterIdLow = 0x0000;
  sFilterConfig.FilterMaskIdHigh = 0x7FF << 5;
  sFilterConfig.FilterMaskIdLow = 0x0000;
  sFilterConfig.FilterFIFOAssignment = CAN_RX_FIFO0;
  sFilterConfig.FilterActivation = ENABLE;

  sFilterConfig.FilterBank = 2;
  sFilterConfig.FilterMode = CAN_FILTERMODE_IDMASK;
  sFilterConfig.FilterScale = CAN_FILTERSCALE_32BIT;
  sFilterConfig.FilterIdHigh = 0x0111 << 5;
  sFilterConfig.FilterIdLow = 0x0000;
  sFilterConfig.FilterMaskIdHigh = 0x07F0 << 5;
  sFilterConfig.FilterMaskIdLow = 0x0000;
  sFilterConfig.FilterFIFOAssignment = CAN_RX_FIFO0;
  sFilterConfig.FilterActivation = ENABLE;

  //sFilterConfig.SlaveStartFilterBank = 14;

  if(HAL_CAN_ConfigFilter(&hcan1, &sFilterConfig) != HAL_OK)
  {
  Error_Handler();
  }
  /* USER CODE END CAN1_Init 2 */

}

static void MX_DAC1_Init(void)
{

  DAC_ChannelConfTypeDef sConfig = {0};

  /** DAC Initialization
  */
  hdac1.Instance = DAC1;
  if (HAL_DAC_Init(&hdac1) != HAL_OK)
  {
    Error_Handler();
  }
  /** DAC channel OUT1 config
  */
  sConfig.DAC_SampleAndHold = DAC_SAMPLEANDHOLD_DISABLE;
  sConfig.DAC_Trigger = DAC_TRIGGER_NONE;
  sConfig.DAC_OutputBuffer = DAC_OUTPUTBUFFER_ENABLE;
  sConfig.DAC_ConnectOnChipPeripheral = DAC_CHIPCONNECT_DISABLE;
  sConfig.DAC_UserTrimming = DAC_TRIMMING_FACTORY;
  if (HAL_DAC_ConfigChannel(&hdac1, &sConfig, DAC_CHANNEL_1) != HAL_OK)
  {
    Error_Handler();
  }

}

static void MX_SPI1_Init(void)
{

  /* SPI1 parameter configuration*/
  hspi1.Instance = SPI1;
  hspi1.Init.Mode = SPI_MODE_MASTER;
  hspi1.Init.Direction = SPI_DIRECTION_2LINES;
  hspi1.Init.DataSize = SPI_DATASIZE_8BIT;
  hspi1.Init.CLKPolarity = SPI_POLARITY_LOW;
  hspi1.Init.CLKPhase = SPI_PHASE_1EDGE;
  hspi1.Init.NSS = SPI_NSS_SOFT;
  hspi1.Init.BaudRatePrescaler = SPI_BAUDRATEPRESCALER_256;
  hspi1.Init.FirstBit = SPI_FIRSTBIT_MSB;
  hspi1.Init.TIMode = SPI_TIMODE_DISABLE;
  hspi1.Init.CRCCalculation = SPI_CRCCALCULATION_DISABLE;
  hspi1.Init.CRCPolynomial = 7;
  hspi1.Init.CRCLength = SPI_CRC_LENGTH_DATASIZE;
  hspi1.Init.NSSPMode = SPI_NSS_PULSE_ENABLE;
  if (HAL_SPI_Init(&hspi1) != HAL_OK)
  {
    Error_Handler();
  }

}

static void MX_TIM3_Init(void)
{

  TIM_ClockConfigTypeDef sClockSourceConfig = {0};
  TIM_MasterConfigTypeDef sMasterConfig = {0};
  TIM_OC_InitTypeDef sConfigOC = {0};

  htim3.Instance = TIM3;
  htim3.Init.Prescaler = 0;
  htim3.Init.CounterMode = TIM_COUNTERMODE_UP;
  htim3.Init.Period = 65535;
  htim3.Init.ClockDivision = TIM_CLOCKDIVISION_DIV1;
  htim3.Init.AutoReloadPreload = TIM_AUTORELOAD_PRELOAD_DISABLE;
  if (HAL_TIM_Base_Init(&htim3) != HAL_OK)
  {
    Error_Handler();
  }
  sClockSourceConfig.ClockSource = TIM_CLOCKSOURCE_INTERNAL;
  if (HAL_TIM_ConfigClockSource(&htim3, &sClockSourceConfig) != HAL_OK)
  {
    Error_Handler();
  }
  if (HAL_TIM_PWM_Init(&htim3) != HAL_OK)
  {
    Error_Handler();
  }
  sMasterConfig.MasterOutputTrigger = TIM_TRGO_RESET;
  sMasterConfig.MasterSlaveMode = TIM_MASTERSLAVEMODE_DISABLE;
  if (HAL_TIMEx_MasterConfigSynchronization(&htim3, &sMasterConfig) != HAL_OK)
  {
    Error_Handler();
  }
  sConfigOC.OCMode = TIM_OCMODE_PWM1;
  sConfigOC.Pulse = 0;
  sConfigOC.OCPolarity = TIM_OCPOLARITY_HIGH;
  sConfigOC.OCFastMode = TIM_OCFAST_DISABLE;
  if (HAL_TIM_PWM_ConfigChannel(&htim3, &sConfigOC, TIM_CHANNEL_1) != HAL_OK)
  {
    Error_Handler();
  }
  HAL_TIM_MspPostInit(&htim3);

}

static void MX_TIM6_Init(void)
{

  TIM_MasterConfigTypeDef sMasterConfig = {0};

  htim6.Instance = TIM6;
  htim6.Init.Prescaler = 799;
  htim6.Init.CounterMode = TIM_COUNTERMODE_UP;
  htim6.Init.Period = 99;
  htim6.Init.AutoReloadPreload = TIM_AUTORELOAD_PRELOAD_DISABLE;
  if (HAL_TIM_Base_Init(&htim6) != HAL_OK)
  {
    Error_Handler();
  }
  sMasterConfig.MasterOutputTrigger = TIM_TRGO_UPDATE;
  sMasterConfig.MasterSlaveMode = TIM_MASTERSLAVEMODE_DISABLE;
  if (HAL_TIMEx_MasterConfigSynchronization(&htim6, &sMasterConfig) != HAL_OK)
  {
    Error_Handler();
  }

}

static void MX_USART2_UART_Init(void)
{

  huart2.Instance = USART2;
  huart2.Init.BaudRate = 115200;
  huart2.Init.WordLength = UART_WORDLENGTH_8B;
  huart2.Init.StopBits = UART_STOPBITS_1;
  huart2.Init.Parity = UART_PARITY_NONE;
  huart2.Init.Mode = UART_MODE_TX_RX;
  huart2.Init.HwFlowCtl = UART_HWCONTROL_NONE;
  huart2.Init.OverSampling = UART_OVERSAMPLING_16;
  huart2.Init.OneBitSampling = UART_ONE_BIT_SAMPLE_DISABLE;
  huart2.AdvancedInit.AdvFeatureInit = UART_ADVFEATURE_NO_INIT;
  if (HAL_UART_Init(&huart2) != HAL_OK)
  {
    Error_Handler();
  }

}

static void MX_DMA_Init(void)
{

  /* DMA controller clock enable */
  __HAL_RCC_DMA1_CLK_ENABLE();

  /* DMA interrupt init */
  /* DMA1_Channel1_IRQn interrupt configuration */
  HAL_NVIC_SetPriority(DMA1_Channel1_IRQn, 0, 0);
  HAL_NVIC_EnableIRQ(DMA1_Channel1_IRQn);

}

static void MX_GPIO_Init(void)
{
  GPIO_InitTypeDef GPIO_InitStruct = {0};

  /* GPIO Ports Clock Enable */
  __HAL_RCC_GPIOC_CLK_ENABLE();
  __HAL_RCC_GPIOH_CLK_ENABLE();
  __HAL_RCC_GPIOA_CLK_ENABLE();
  __HAL_RCC_GPIOB_CLK_ENABLE();

  /*Configure GPIO pin Output Level */
  HAL_GPIO_WritePin(LD4_GPIO_Port, LD4_Pin, GPIO_PIN_RESET);

  /*Configure GPIO pin Output Level */
  HAL_GPIO_WritePin(SS_SPI1_GPIO_Port, SS_SPI1_Pin, GPIO_PIN_RESET);

  /*Configure GPIO pin : B1_Pin */
  GPIO_InitStruct.Pin = B1_Pin;
  GPIO_InitStruct.Mode = GPIO_MODE_IT_FALLING;
  GPIO_InitStruct.Pull = GPIO_NOPULL;
  HAL_GPIO_Init(B1_GPIO_Port, &GPIO_InitStruct);

  /*Configure GPIO pin : LD4_Pin */
  GPIO_InitStruct.Pin = LD4_Pin;
  GPIO_InitStruct.Mode = GPIO_MODE_OUTPUT_PP;
  GPIO_InitStruct.Pull = GPIO_NOPULL;
  GPIO_InitStruct.Speed = GPIO_SPEED_FREQ_LOW;
  HAL_GPIO_Init(LD4_GPIO_Port, &GPIO_InitStruct);

  /*Configure GPIO pin : SS_SPI1_Pin */
  GPIO_InitStruct.Pin = SS_SPI1_Pin;
  GPIO_InitStruct.Mode = GPIO_MODE_OUTPUT_PP;
  GPIO_InitStruct.Pull = GPIO_NOPULL;
  GPIO_InitStruct.Speed = GPIO_SPEED_FREQ_MEDIUM;
  HAL_GPIO_Init(SS_SPI1_GPIO_Port, &GPIO_InitStruct);

}

/* USER CODE BEGIN 4 */
//это стандартная запись для посимвольного вывода информации в интерфейс ITM в среде STM32CubeIDE
//(должно быть в случае применения SWO)
//https://www.youtube.com/watch?v=nE-YrKpWjso&list=PL9lkEHy8EJU8a_bqiJXwGTo-uM_cPa98P
int __io_putchar(int ch)
{
	ITM_SendChar(ch);
	return ch;
}

//или:

//STM32: Отладка через SWO в STM32CubeIDE с доработкой ST-LINK
//https://www.youtube.com/watch?v=ST_fUu6ACzE

//int _write(int file, char *ptr, int len)
 //{
 //int i = 0;
 //for(i = 0; i < len; i++)
    //ITM_SendChar((*ptr++));
 //return len;
 //}

/* USER CODE END 4 */

void Error_Handler(void)
{
  __disable_irq();
  while (1)
  {
  }
}
